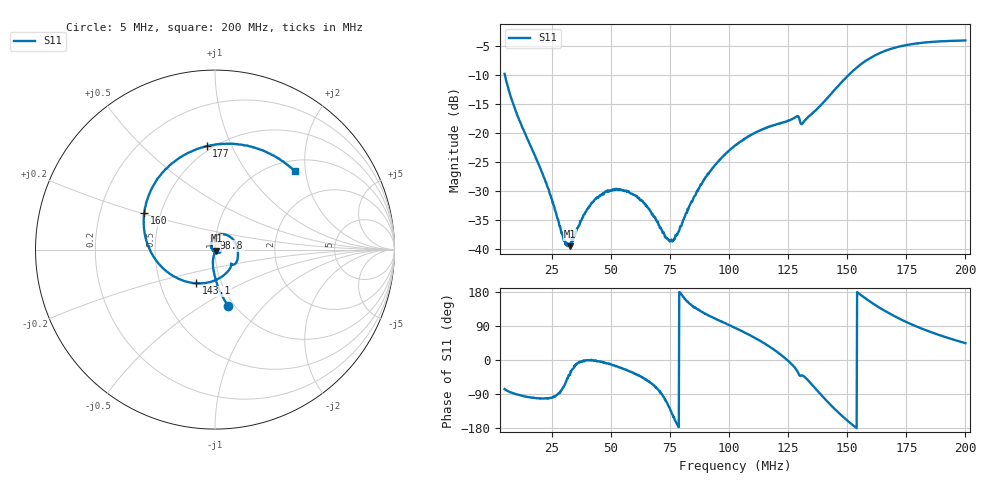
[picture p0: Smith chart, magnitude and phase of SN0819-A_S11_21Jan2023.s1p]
# Hz S DB R 50
! CMT, M5045, 22160017, 22.4.3/2
! Date: 1/21/2023 20:30:15
! Data: Format (Calibration Info)
! Freq	S11:dB/Ang(F1)
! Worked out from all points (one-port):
!   1001 points, 5 MHz to 200 MHz, reference 50 ohm
!   lowest |S11| = -39.6 dB at 32.69 MHz (marker M1), VSWR 1.02, Z = 50.8 - j0.67 ohm
!   |S11| at or under -10 dB: 5.076 MHz to 150.7 MHz (145.7 MHz wide, 187 % of centre)
!   S11 on the Smith chart (normalised r, x): 5 MHz: 0.94, -0.65; 98.8 MHz: 0.98, +0.13; 143.1 MHz: 0.76, -0.30; 160 MHz: 0.40, +0.20; 177 MHz: 0.47, +0.81; 200 MHz: 1.22, +1.75
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5000000  -9.86 -76.8
1.28e7  -19.34 -95.0
2.2745e7  -28.80 -101.0
2.9375e7  -37.56 -76.9
3.0935e7  -38.92 -57.1
3.269e7  -39.59 -39.0
4.2635e7  -31.81 -0.6
4.8095e7  -30.15 -8.2
5.375e7  -29.82 -19.4
6.35e7  -31.84 -47.1
7.3835e7  -38.23 -113.8
7.598e7  -38.81 -143.3
7.8125e7  -37.62 -170.8
8.8655e7  -28.68 126.7
9.8795e7  -23.54 95.6
1.025e8  -22.22 84.8
1.1576e8  -19.17 40.4
1.26875e8  -17.63 -13.4
1.3136e8  -18.25 -41.9
1.36625e8  -16.17 -75.6
1.4306e8  -13.38 -119.0
1.5125e8  -9.79 -166.1
1.60025e8  -7.06 152.7
1.68215e8  -5.57 121.4
1.75625e8  -4.86 98.3
1.7699e8  -4.76 94.7
1.8674e8  -4.32 70.7
2e8  -4.10 44.5
